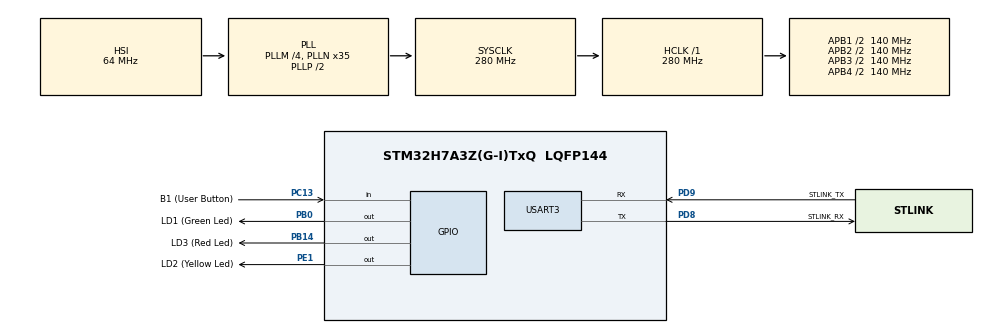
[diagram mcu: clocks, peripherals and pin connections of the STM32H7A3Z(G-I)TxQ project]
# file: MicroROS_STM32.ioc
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CORTEX_M7.default_mode_Activation=1
Dma.Request0=USART3_RX
Dma.Request1=USART3_TX
Dma.USART3_RX.0.Direction=DMA_PERIPH_TO_MEMORY
Dma.USART3_RX.0.EventEnable=DISABLE
Dma.USART3_RX.0.FIFOMode=DMA_FIFOMODE_DISABLE
Dma.USART3_RX.0.Instance=DMA1_Stream0
Dma.USART3_RX.0.MemDataAlignment=DMA_MDATAALIGN_BYTE
Dma.USART3_RX.0.MemInc=DMA_MINC_ENABLE
Dma.USART3_RX.0.Mode=DMA_CIRCULAR
Dma.USART3_RX.0.PeriphDataAlignment=DMA_PDATAALIGN_BYTE
Dma.USART3_RX.0.PeriphInc=DMA_PINC_DISABLE
Dma.USART3_RX.0.Polarity=HAL_DMAMUX_REQ_GEN_RISING
Dma.USART3_RX.0.Priority=DMA_PRIORITY_VERY_HIGH
Dma.USART3_RX.0.RequestNumber=1
Dma.USART3_RX.0.SignalID=NONE
Dma.USART3_RX.0.SyncEnable=DISABLE
Dma.USART3_RX.0.SyncPolarity=HAL_DMAMUX_SYNC_NO_EVENT
Dma.USART3_RX.0.SyncRequestNumber=1
Dma.USART3_RX.0.SyncSignalID=NONE
Dma.USART3_TX.1.Direction=DMA_MEMORY_TO_PERIPH
Dma.USART3_TX.1.EventEnable=DISABLE
Dma.USART3_TX.1.FIFOMode=DMA_FIFOMODE_DISABLE
Dma.USART3_TX.1.Instance=DMA1_Stream1
Dma.USART3_TX.1.MemDataAlignment=DMA_MDATAALIGN_BYTE
Dma.USART3_TX.1.MemInc=DMA_MINC_ENABLE
Dma.USART3_TX.1.Mode=DMA_NORMAL
Dma.USART3_TX.1.PeriphDataAlignment=DMA_PDATAALIGN_BYTE
Dma.USART3_TX.1.PeriphInc=DMA_PINC_DISABLE
Dma.USART3_TX.1.Polarity=HAL_DMAMUX_REQ_GEN_RISING
Dma.USART3_TX.1.Priority=DMA_PRIORITY_VERY_HIGH
Dma.USART3_TX.1.RequestNumber=1
Dma.USART3_TX.1.SignalID=NONE
Dma.USART3_TX.1.SyncEnable=DISABLE
Dma.USART3_TX.1.SyncPolarity=HAL_DMAMUX_SYNC_NO_EVENT
Dma.USART3_TX.1.SyncRequestNumber=1
Dma.USART3_TX.1.SyncSignalID=NONE
FREERTOS.Tasks01=defaultTask,24,3000,StartDefaultTask,As weak,NULL,Dynamic,NULL,NULL
FREERTOS.configUSE_NEWLIB_REENTRANT=1
Mcu.Family=STM32H7
Mcu.Name=STM32H7A3Z(G-I)TxQ
Mcu.Package=LQFP144
NVIC.DMA1_Stream0_IRQn=true\:5\:0\:false\:false\:true\:true\:false\:true\:true
NVIC.DMA1_Stream1_IRQn=true\:5\:0\:false\:false\:true\:true\:false\:true\:true
NVIC.PriorityGroup=NVIC_PRIORITYGROUP_4
NVIC.TIM1_UP_IRQn=true\:15\:0\:false\:false\:true\:false\:false\:true\:true
NVIC.TimeBase=TIM1_UP_IRQn
NVIC.TimeBaseIP=TIM1
NVIC.USART3_IRQn=true\:5\:0\:false\:false\:true\:true\:true\:true\:true
PA13.Mode=Trace_Asynchronous_SW
PA13.Signal=DEBUG_JTMS-SWDIO
PA14.Mode=Trace_Asynchronous_SW
PA14.Signal=DEBUG_JTCK-SWCLK
PB0.GPIO_Label=LD1 (Green Led)
PB0.Signal=GPIO_Output
PB14.GPIO_Label=LD3 (Red Led)
PB14.Signal=GPIO_Output
PB3.Mode=Trace_Asynchronous_SW
PB3.Signal=DEBUG_JTDO-SWO
PC13.GPIO_Label=B1 (User Button)
PC13.Signal=GPIO_Input
PC14-OSC32_IN.GPIO_Label=OSC32_IN
PC14-OSC32_IN.Signal=RCC_OSC32_IN
PC15-OSC32_OUT.GPIO_Label=OSC32_OUT
PC15-OSC32_OUT.Signal=RCC_OSC32_OUT
PD8.GPIO_Label=STLINK_RX
PD8.Mode=Asynchronous
PD8.Signal=USART3_TX
PD9.GPIO_Label=STLINK_TX
PD9.Mode=Asynchronous
PD9.Signal=USART3_RX
PE1.GPIO_Label=LD2 (Yellow Led)
PE1.Signal=GPIO_Output
PH0-OSC_IN.GPIO_Label=PH0-MCU
PH0-OSC_IN.Mode=HSE-External-Oscillator
PH0-OSC_IN.Signal=RCC_OSC_IN
PH1-OSC_OUT.GPIO_Label=PH1-MCU
PH1-OSC_OUT.Mode=HSE-External-Oscillator
PH1-OSC_OUT.Signal=RCC_OSC_OUT
ProjectManager.HeapSize=0x200
ProjectManager.StackSize=0x400
ProjectManager.TargetToolchain=STM32CubeIDE
RCC.ADCFreq_Value=129000000
RCC.APB1Freq_Value=140000000
RCC.APB2Freq_Value=140000000
RCC.APB3Freq_Value=140000000
RCC.APB4Freq_Value=140000000
RCC.CDPPRE=RCC_APB3_DIV2
RCC.CDPPRE1=RCC_APB1_DIV2
RCC.CDPPRE2=RCC_APB2_DIV2
RCC.CortexFreq_Value=280000000
RCC.DIVM1=4
RCC.DIVM3=1
RCC.DIVN1=35
RCC.DIVN3=24
RCC.DIVQ1=4
RCC.HCLKFreq_Value=280000000
RCC.HSE_VALUE=8000000
RCC.PLLFRACN=0
RCC.PWR_Regulator_Voltage_Scale=PWR_REGULATOR_VOLTAGE_SCALE0
RCC.SRDPPRE=RCC_APB4_DIV2
RCC.SYSCLKFreq_VALUE=280000000
RCC.SYSCLKSource=RCC_SYSCLKSOURCE_PLLCLK
RCC.SupplySource=PWR_DIRECT_SMPS_SUPPLY
RCC.USBCLockSelection=RCC_USBCLKSOURCE_HSI48
RCC.USBFreq_Value=48000000
USART3.VirtualMode-Asynchronous=VM_ASYNC
VP_FREERTOS_VS_CMSIS_V2.Mode=CMSIS_V2
VP_MEMORYMAP_VS_MEMORYMAP.Mode=CurAppReg
VP_SYS_VS_tim1.Mode=TIM1
board=NUCLEO-H7A3ZI-Q

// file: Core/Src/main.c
/* USER CODE BEGIN Header */
/**
  ******************************************************************************
  * @file           : main.c
  * @brief          : Main program body
  ******************************************************************************
  * @attention
  *
  * <h2><center>&copy; Copyright (c) 2021 STMicroelectronics.
  * All rights reserved.</center></h2>
  *
  * This software component is licensed by ST under BSD 3-Clause license,
  * the "License"; You may not use this file except in compliance with the
  * License. You may obtain a copy of the License at:
  *                        opensource.org/licenses/BSD-3-Clause
  *
  ******************************************************************************
  */
/* USER CODE END Header */
#include "main.h"
#include "cmsis_os.h"
#include "dma.h"
#include "usart.h"
#include "gpio.h"

/* USER CODE BEGIN Includes */
#include <rcl/rcl.h>
#include <rcl/error_handling.h>
#include <rclc/rclc.h>
#include <rclc/executor.h>
#include <uxr/client/transport.h>
#include <rmw_microxrcedds_c/config.h>
#include <rmw_microros/rmw_microros.h>

#include <std_msgs/msg/int32.h>
#include <stdio.h> // For printf
#include <unistd.h> // For STDOUT_FILENO
/* USER CODE END Includes */

/* USER CODE BEGIN PD */
#define DEBUG_MSG 0 // Set to 1 to enable printf, 0 to disable
/* USER CODE END PD */

void SystemClock_Config(void);
static void MPU_Config(void);
void MX_FREERTOS_Init(void);
/* USER CODE BEGIN PFP */
// Transport and memory allocation function prototypes.
// These are implemented in your separate transport file (e.g., dma_transport.c)
// and memory management file.
bool cubemx_transport_open(struct uxrCustomTransport * transport);
bool cubemx_transport_close(struct uxrCustomTransport * transport);
size_t cubemx_transport_write(struct uxrCustomTransport* transport, const uint8_t * buf, size_t len, uint8_t * err);
size_t cubemx_transport_read(struct uxrCustomTransport* transport, uint8_t* buf, size_t len, int timeout, uint8_t* err);

void * microros_allocate(size_t size, void * state);
void microros_deallocate(void * pointer, void * state);
void * microros_reallocate(void * pointer, size_t size, void * state);
void * microros_zero_allocate(size_t number_of_elements, size_t size_of_element, void * state);
/* USER CODE END PFP */

/* USER CODE BEGIN 0 */
/**
  * @brief  Retargets the C library printf function to the USART.
  * @param  file  File descriptor.
  * @param  ptr   Pointer to the data buffer.
  * @param  len   Number of bytes to write.
  * @retval len   Number of bytes written.
  */
int _write(int file, char *ptr, int len)
{
  // We only want to handle standard output.
  if (file == STDOUT_FILENO)
  {
    // Transmit the data using the HAL library for USART3.
    // This is a blocking call, suitable for debugging.
    HAL_UART_Transmit(&huart3, (uint8_t *)ptr, len, HAL_MAX_DELAY);
  }
  // Return the number of characters written.
  return len;
}
/* USER CODE END 0 */

int main(void)
{

  /* MPU Configuration--------------------------------------------------------*/
  MPU_Config();

  /* MCU Configuration--------------------------------------------------------*/

  /* Reset of all peripherals, Initializes the Flash interface and the Systick. */
  HAL_Init();

  /* Configure the system clock */
  SystemClock_Config();

  /* Initialize all configured peripherals */
  MX_GPIO_Init();
  MX_DMA_Init();
  MX_USART3_UART_Init();

  /* Init scheduler */
  osKernelInitialize();  /* Call init function for freertos objects (in cmsis_os2.c) */
  MX_FREERTOS_Init();

  /* Start scheduler */
  osKernelStart();

  /* We should never get here as control is now taken by the scheduler */

  /* Infinite loop */
  while (1)
  {

  }
}

void SystemClock_Config(void)
{
  RCC_OscInitTypeDef RCC_OscInitStruct = {0};
  RCC_ClkInitTypeDef RCC_ClkInitStruct = {0};

  /*AXI clock gating */
  RCC->CKGAENR = 0xE003FFFF;

  /** Supply configuration update enable
  */
  HAL_PWREx_ConfigSupply(PWR_DIRECT_SMPS_SUPPLY);

  /** Configure the main internal regulator output voltage
  */
  __HAL_PWR_VOLTAGESCALING_CONFIG(PWR_REGULATOR_VOLTAGE_SCALE0);

  while(!__HAL_PWR_GET_FLAG(PWR_FLAG_VOSRDY)) {}

  /** Initializes the RCC Oscillators according to the specified parameters
  * in the RCC_OscInitTypeDef structure.
  */
  RCC_OscInitStruct.OscillatorType = RCC_OSCILLATORTYPE_HSI;
  RCC_OscInitStruct.HSIState = RCC_HSI_DIV1;
  RCC_OscInitStruct.HSICalibrationValue = 64;
  RCC_OscInitStruct.PLL.PLLState = RCC_PLL_ON;
  RCC_OscInitStruct.PLL.PLLSource = RCC_PLLSOURCE_HSI;
  RCC_OscInitStruct.PLL.PLLM = 4;
  RCC_OscInitStruct.PLL.PLLN = 35;
  RCC_OscInitStruct.PLL.PLLP = 2;
  RCC_OscInitStruct.PLL.PLLQ = 4;
  RCC_OscInitStruct.PLL.PLLR = 2;
  RCC_OscInitStruct.PLL.PLLRGE = RCC_PLL1VCIRANGE_3;
  RCC_OscInitStruct.PLL.PLLVCOSEL = RCC_PLL1VCOWIDE;
  RCC_OscInitStruct.PLL.PLLFRACN = 0;
  if (HAL_RCC_OscConfig(&RCC_OscInitStruct) != HAL_OK)
  {
    Error_Handler();
  }

  /** Initializes the CPU, AHB and APB buses clocks
  */
  RCC_ClkInitStruct.ClockType = RCC_CLOCKTYPE_HCLK|RCC_CLOCKTYPE_SYSCLK
                              |RCC_CLOCKTYPE_PCLK1|RCC_CLOCKTYPE_PCLK2
                              |RCC_CLOCKTYPE_D3PCLK1|RCC_CLOCKTYPE_D1PCLK1;
  RCC_ClkInitStruct.SYSCLKSource = RCC_SYSCLKSOURCE_PLLCLK;
  RCC_ClkInitStruct.SYSCLKDivider = RCC_SYSCLK_DIV1;
  RCC_ClkInitStruct.AHBCLKDivider = RCC_HCLK_DIV1;
  RCC_ClkInitStruct.APB3CLKDivider = RCC_APB3_DIV2;
  RCC_ClkInitStruct.APB1CLKDivider = RCC_APB1_DIV2;
  RCC_ClkInitStruct.APB2CLKDivider = RCC_APB2_DIV2;
  RCC_ClkInitStruct.APB4CLKDivider = RCC_APB4_DIV2;

  if (HAL_RCC_ClockConfig(&RCC_ClkInitStruct, FLASH_LATENCY_6) != HAL_OK)
  {
    Error_Handler();
  }
}

/* USER CODE BEGIN 4 */
// (The transport and memory allocation functions are also in this section)

// Define the publisher and the message globally or within a struct so the callback can access them.
rcl_publisher_t publisher;
std_msgs__msg__Int32 msg;

// Timer callback function to publish a message
void timer_callback(rcl_timer_t * timer, int64_t last_call_time)
{
  (void) last_call_time; // Unused parameter
  if (timer != NULL) {
    // Publish the message
#if DEBUG_MSG
	    printf("Publishing data: %ld\r\n", (long)msg.data); // Add this line
#endif
    rcl_ret_t ret = rcl_publish(&publisher, &msg, NULL);
    if (ret == RCL_RET_OK) {
        // Increment the message data for the next publication
        msg.data++;
    }
  }
}

/* USER CODE END 4 */

void StartDefaultTask(void * argument)
{
  /* USER CODE BEGIN 5 */

  // --- micro-ROS Configuration ---
  rmw_uros_set_custom_transport(
    true,
    (void *) &huart3,
    cubemx_transport_open,
    cubemx_transport_close,
    cubemx_transport_write,
    cubemx_transport_read);

  rcl_allocator_t freeRTOS_allocator = rcutils_get_zero_initialized_allocator();
  freeRTOS_allocator.allocate = microros_allocate;
  freeRTOS_allocator.deallocate = microros_deallocate;
  freeRTOS_allocator.reallocate = microros_reallocate;
  freeRTOS_allocator.zero_allocate = microros_zero_allocate;

  if (!rcutils_set_default_allocator(&freeRTOS_allocator)) {
      printf("Error on default allocators (line %d)\n", __LINE__);
  }

  // --- micro-ROS App Initialization ---
  rclc_support_t support;
  rcl_allocator_t allocator = rcl_get_default_allocator();
  rcl_node_t node;
  rcl_timer_t timer;
  rclc_executor_t executor;

#if DEBUG_MSG
  printf("--- micro-ROS STM32 Booting ---\r\n");
#endif
  // Initialize micro-ROS support
  rclc_support_init(&support, 0, NULL, &allocator);
#if DEBUG_MSG
  printf("Support initialized.\r\n");
#endif

  // Create a ROS 2 node
  rclc_node_init_default(&node, "cubemx_node", "", &support);
#if DEBUG_MSG
  printf("Node created.\r\n");
#endif  // Create a publisher
  rclc_publisher_init_default(
    &publisher,
    &node,
    ROSIDL_GET_MSG_TYPE_SUPPORT(std_msgs, msg, Int32),
    "cubemx_publisher");

  // Create a timer to trigger the publisher every 100ms
  const unsigned int timer_period = 100; // milliseconds
  rclc_timer_init_default2(
    &timer,
    &support,
    RCL_MS_TO_NS(timer_period),
    timer_callback,
	true);

  // Create an executor to handle the timer
  // The '1' indicates the executor will handle 1 item (our timer)
  rclc_executor_init(&executor, &support.context, 1, &allocator);
  rclc_executor_add_timer(&executor, &timer);

  // Initialize the message data
  msg.data = 0;

  // --- Main Execution Loop ---
  // This loop will "spin" the executor, which checks for and executes ready tasks
  // like our timer callback.
  for(;;)
  {
    // Let the executor check for timers and subscriptions
    rclc_executor_spin_some(&executor, RCL_MS_TO_NS(100));
    osDelay(10); // Small delay to yield CPU time
  }

  // --- Cleanup (This part is rarely reached) ---
  rcl_publisher_fini(&publisher, &node);
  rcl_node_fini(&node);

  /* USER CODE END 5 */
}
 /* MPU Configuration */

void MPU_Config(void)
{
  MPU_Region_InitTypeDef MPU_InitStruct = {0};

  /* Disables the MPU */
  HAL_MPU_Disable();

  /** Initializes and configures the Region and the memory to be protected
  */
  MPU_InitStruct.Enable = MPU_REGION_ENABLE;
  MPU_InitStruct.Number = MPU_REGION_NUMBER0;
  MPU_InitStruct.BaseAddress = 0x0;
  MPU_InitStruct.Size = MPU_REGION_SIZE_4GB;
  MPU_InitStruct.SubRegionDisable = 0x87;
  MPU_InitStruct.TypeExtField = MPU_TEX_LEVEL0;
  MPU_InitStruct.AccessPermission = MPU_REGION_NO_ACCESS;
  MPU_InitStruct.DisableExec = MPU_INSTRUCTION_ACCESS_DISABLE;
  MPU_InitStruct.IsShareable = MPU_ACCESS_SHAREABLE;
  MPU_InitStruct.IsCacheable = MPU_ACCESS_NOT_CACHEABLE;
  MPU_InitStruct.IsBufferable = MPU_ACCESS_NOT_BUFFERABLE;

  HAL_MPU_ConfigRegion(&MPU_InitStruct);
  /* Enables the MPU */
  HAL_MPU_Enable(MPU_PRIVILEGED_DEFAULT);

}

void HAL_TIM_PeriodElapsedCallback(TIM_HandleTypeDef *htim)
{
  if (htim->Instance == TIM1)
  {
    HAL_IncTick();
  }
}

void Error_Handler(void)
{
  __disable_irq();
  while (1)
  {
  }
}

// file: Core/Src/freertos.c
/* USER CODE BEGIN Header */
/**
  ******************************************************************************
  * File Name          : freertos.c
  * Description        : Code for freertos applications
  ******************************************************************************
  * @attention
  *
  * Copyright (c) 2025 STMicroelectronics.
  * All rights reserved.
  *
  * This software is licensed under terms that can be found in the LICENSE file
  * in the root directory of this software component.
  * If no LICENSE file comes with this software, it is provided AS-IS.
  *
  ******************************************************************************
  */
/* USER CODE END Header */

#include "FreeRTOS.h"
#include "task.h"
#include "main.h"
#include "cmsis_os.h"

/* Definitions for defaultTask */
osThreadId_t defaultTaskHandle;
const osThreadAttr_t defaultTask_attributes = {
  .name = "defaultTask",
  .stack_size = 3000 * 4,
  .priority = (osPriority_t) osPriorityNormal,
};

void StartDefaultTask(void *argument);

void MX_FREERTOS_Init(void); /* (MISRA C 2004 rule 8.1) */

void MX_FREERTOS_Init(void) {

  /* Create the thread(s) */
  /* creation of defaultTask */
  defaultTaskHandle = osThreadNew(StartDefaultTask, NULL, &defaultTask_attributes);

}

__weak void StartDefaultTask(void *argument)
{
  for(;;)
  {
    osDelay(1);
  }
}
